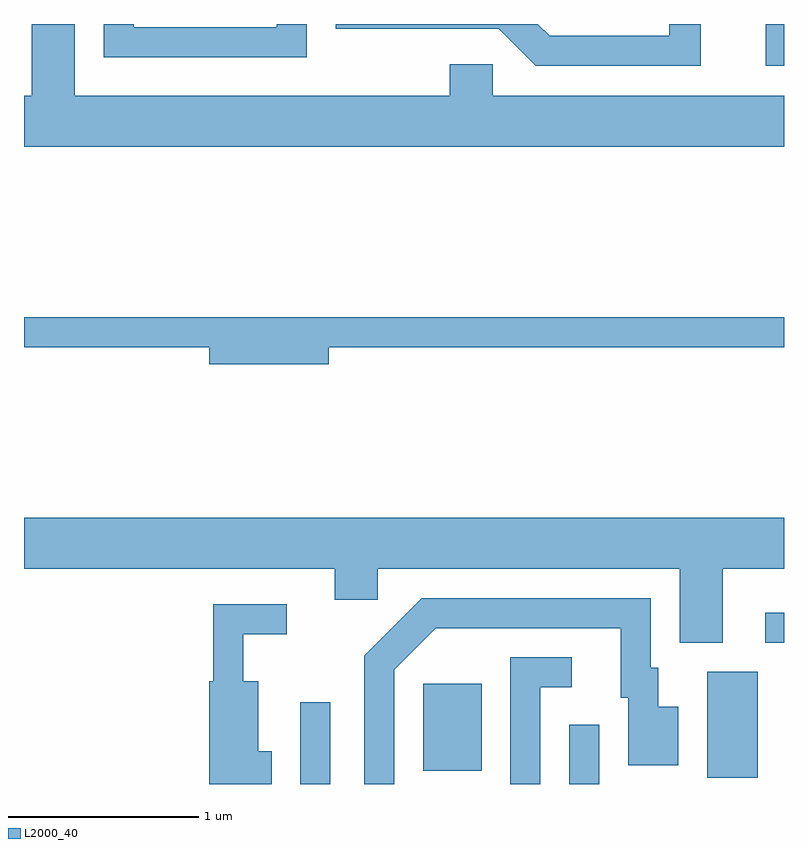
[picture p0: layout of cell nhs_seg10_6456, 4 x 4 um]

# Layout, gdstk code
import gdstk
lib = gdstk.Library(unit=1e-6, precision=1e-09)
def R(c, l, rs):  # rectangles x0, y0, x1, y1
    for r in rs: c.add(gdstk.rectangle(r[:2], r[2:], *l))
def P(c, l, *ps):  # polygons
    for p in ps: c.add(gdstk.Polygon(p, *l))
L2000_40 = (2000, 40)

nhs_seg10_6456 = lib.new_cell('nhs_seg10_6456')
R(nhs_seg10_6456, L2000_40, [(377.066,2150.522,377.224,2150.953), (378.481,2150.522,378.639,2150.833), (379.206,2150.556,379.474,2151.114), (377.711,2150.591,378.019,2151.049), (379.513,2151.266,379.611,2151.424), (379.516,2154.301,379.611,2154.522)])
P(nhs_seg10_6456, L2000_40, [(379.611,2154.144),(378.079,2154.144),(378.079,2154.309),(377.851,2154.309),(377.851,2154.144),(375.879,2154.144),(375.879,2154.522),(375.651,2154.522),(375.651,2154.144),(375.611,2154.144),(375.611,2153.876),(379.611,2153.876)],
  [(379.174,2154.522),(379.006,2154.522),(379.006,2154.459),(378.377,2154.459),(378.314,2154.522),(377.251,2154.522),(377.251,2154.496),(378.109,2154.496),(378.304,2154.301),(379.174,2154.301)],
  [(377.099,2154.522),(376.941,2154.522),(376.941,2154.504),(376.189,2154.504),(376.189,2154.522),(376.031,2154.522),(376.031,2154.346),(377.099,2154.346)],
  [(377.214,2152.821),(379.611,2152.821),(379.611,2152.979),(375.611,2152.979),(375.611,2152.821),(376.586,2152.821),(376.586,2152.731),(377.214,2152.731)],
  [(379.289,2151.656),(379.611,2151.656),(379.611,2151.924),(375.611,2151.924),(375.611,2151.656),(377.246,2151.656),(377.246,2151.491),(377.474,2151.491),(377.474,2151.656),(379.061,2151.656),(379.061,2151.266),(379.289,2151.266)],
  [(377.559,2151.124),(377.777,2151.341),(378.751,2151.341),(378.751,2150.976),(378.791,2150.976),(378.791,2150.621),(379.054,2150.621),(379.054,2150.929),(378.949,2150.929),(378.949,2151.134),(378.909,2151.134),(378.909,2151.499),(377.704,2151.499),(377.401,2151.197),(377.401,2150.522),(377.559,2150.522)],
  [(376.914,2150.694),(376.844,2150.694),(376.844,2151.064),(376.764,2151.064),(376.764,2151.311),(376.993,2151.311),(376.993,2151.469),(376.606,2151.469),(376.606,2151.064),(376.586,2151.064),(376.586,2150.522),(376.914,2150.522)],
  [(378.329,2151.031),(378.493,2151.031),(378.493,2151.189),(378.171,2151.189),(378.171,2150.522),(378.329,2150.522)])

lib.write_gds('nhs_seg10_6456.gds')
